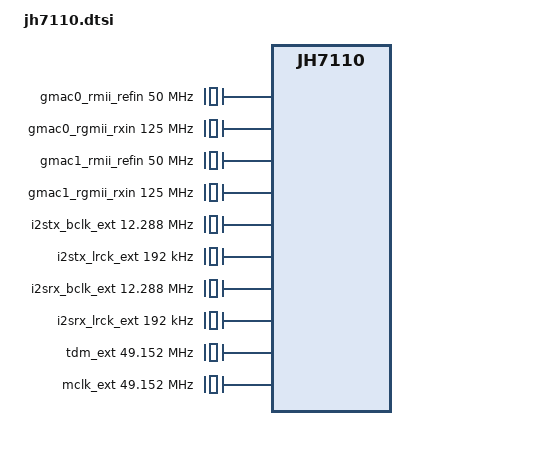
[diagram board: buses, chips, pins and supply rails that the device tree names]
// SPDX-License-Identifier: GPL-2.0 OR MIT
/*
 * Copyright (C) 2022 StarFive Technology Co., Ltd.
 * Copyright (C) 2022 Emil Renner Berthing <kernel@esmil.dk>
 */

/dts-v1/;
#include <dt-bindings/clock/starfive-jh7110-sys.h>
#include <dt-bindings/clock/starfive-jh7110-aon.h>
#include <dt-bindings/reset/starfive-jh7110.h>

/ {
	compatible = "starfive,jh7110";
	#address-cells = <2>;
	#size-cells = <2>;

	cpus {
		#address-cells = <1>;
		#size-cells = <0>;

		cpu0: cpu@0 {
			compatible = "sifive,u74-mc", "riscv";
			reg = <0>;
			d-cache-block-size = <64>;
			d-cache-sets = <64>;
			d-cache-size = <8192>;
			d-tlb-sets = <1>;
			d-tlb-size = <40>;
			device_type = "cpu";
			i-cache-block-size = <64>;
			i-cache-sets = <64>;
			i-cache-size = <16384>;
			i-tlb-sets = <1>;
			i-tlb-size = <40>;
			mmu-type = "riscv,sv39";
			next-level-cache = <&ccache>;
			riscv,isa = "rv64imac";
			tlb-split;
			status = "disabled";

			cpu0_intc: interrupt-controller {
				compatible = "riscv,cpu-intc";
				interrupt-controller;
				#interrupt-cells = <1>;
			};
		};

		cpu1: cpu@1 {
			compatible = "sifive,u74-mc", "riscv";
			reg = <1>;
			d-cache-block-size = <64>;
			d-cache-sets = <64>;
			d-cache-size = <32768>;
			d-tlb-sets = <1>;
			d-tlb-size = <40>;
			device_type = "cpu";
			i-cache-block-size = <64>;
			i-cache-sets = <64>;
			i-cache-size = <32768>;
			i-tlb-sets = <1>;
			i-tlb-size = <40>;
			mmu-type = "riscv,sv39";
			next-level-cache = <&ccache>;
			riscv,isa = "rv64imafdc";
			tlb-split;

			cpu1_intc: interrupt-controller {
				compatible = "riscv,cpu-intc";
				interrupt-controller;
				#interrupt-cells = <1>;
			};
		};

		cpu2: cpu@2 {
			compatible = "sifive,u74-mc", "riscv";
			reg = <2>;
			d-cache-block-size = <64>;
			d-cache-sets = <64>;
			d-cache-size = <32768>;
			d-tlb-sets = <1>;
			d-tlb-size = <40>;
			device_type = "cpu";
			i-cache-block-size = <64>;
			i-cache-sets = <64>;
			i-cache-size = <32768>;
			i-tlb-sets = <1>;
			i-tlb-size = <40>;
			mmu-type = "riscv,sv39";
			next-level-cache = <&ccache>;
			riscv,isa = "rv64imafdc";
			tlb-split;

			cpu2_intc: interrupt-controller {
				compatible = "riscv,cpu-intc";
				interrupt-controller;
				#interrupt-cells = <1>;
			};
		};

		cpu3: cpu@3 {
			compatible = "sifive,u74-mc", "riscv";
			reg = <3>;
			d-cache-block-size = <64>;
			d-cache-sets = <64>;
			d-cache-size = <32768>;
			d-tlb-sets = <1>;
			d-tlb-size = <40>;
			device_type = "cpu";
			i-cache-block-size = <64>;
			i-cache-sets = <64>;
			i-cache-size = <32768>;
			i-tlb-sets = <1>;
			i-tlb-size = <40>;
			mmu-type = "riscv,sv39";
			next-level-cache = <&ccache>;
			riscv,isa = "rv64imafdc";
			tlb-split;

			cpu3_intc: interrupt-controller {
				compatible = "riscv,cpu-intc";
				interrupt-controller;
				#interrupt-cells = <1>;
			};
		};

		cpu4: cpu@4 {
			compatible = "sifive,u74-mc", "riscv";
			reg = <4>;
			d-cache-block-size = <64>;
			d-cache-sets = <64>;
			d-cache-size = <32768>;
			d-tlb-sets = <1>;
			d-tlb-size = <40>;
			device_type = "cpu";
			i-cache-block-size = <64>;
			i-cache-sets = <64>;
			i-cache-size = <32768>;
			i-tlb-sets = <1>;
			i-tlb-size = <40>;
			mmu-type = "riscv,sv39";
			next-level-cache = <&ccache>;
			riscv,isa = "rv64imafdc";
			tlb-split;

			cpu4_intc: interrupt-controller {
				compatible = "riscv,cpu-intc";
				interrupt-controller;
				#interrupt-cells = <1>;
			};
		};

		cpu-map {
			cluster0 {
				core0 {
					cpu = <&cpu0>;
				};

				core1 {
					cpu = <&cpu1>;
				};

				core2 {
					cpu = <&cpu2>;
				};

				core3 {
					cpu = <&cpu3>;
				};

				core4 {
					cpu = <&cpu4>;
				};
			};
		};
	};

	osc: osc {
		compatible = "fixed-clock";
		#clock-cells = <0>;
	};

	clk_rtc: clk_rtc {
		compatible = "fixed-clock";
		#clock-cells = <0>;
	};

	gmac0_rmii_refin: gmac0_rmii_refin {
		compatible = "fixed-clock";
		#clock-cells = <0>;
		clock-frequency = <50000000>;
	};

	gmac0_rgmii_rxin: gmac0_rgmii_rxin {
		compatible = "fixed-clock";
		#clock-cells = <0>;
		clock-frequency = <125000000>;
	};

	gmac1_rmii_refin: gmac1_rmii_refin {
		compatible = "fixed-clock";
		#clock-cells = <0>;
		clock-frequency = <50000000>;
	};

	gmac1_rgmii_rxin: gmac1_rgmii_rxin {
		compatible = "fixed-clock";
		#clock-cells = <0>;
		clock-frequency = <125000000>;
	};

	i2stx_bclk_ext: i2stx_bclk_ext {
		compatible = "fixed-clock";
		#clock-cells = <0>;
		clock-frequency = <12288000>;
	};

	i2stx_lrck_ext: i2stx_lrck_ext {
		compatible = "fixed-clock";
		#clock-cells = <0>;
		clock-frequency = <192000>;
	};

	i2srx_bclk_ext: i2srx_bclk_ext {
		compatible = "fixed-clock";
		#clock-cells = <0>;
		clock-frequency = <12288000>;
	};

	i2srx_lrck_ext: i2srx_lrck_ext {
		compatible = "fixed-clock";
		#clock-cells = <0>;
		clock-frequency = <192000>;
	};

	tdm_ext: tdm_ext {
		compatible = "fixed-clock";
		#clock-cells = <0>;
		clock-frequency = <49152000>;
	};

	mclk_ext: mclk_ext {
		compatible = "fixed-clock";
		#clock-cells = <0>;
		clock-frequency = <49152000>;
	};

	soc {
		compatible = "simple-bus";
		interrupt-parent = <&plic>;
		#address-cells = <2>;
		#size-cells = <2>;
		ranges;

		clint: clint@2000000 {
			compatible = "starfive,jh7110-clint", "sifive,clint0";
			reg = <0x0 0x2000000 0x0 0x10000>;
			interrupts-extended = <&cpu0_intc 3>, <&cpu0_intc 7>,
					      <&cpu1_intc 3>, <&cpu1_intc 7>,
					      <&cpu2_intc 3>, <&cpu2_intc 7>,
					      <&cpu3_intc 3>, <&cpu3_intc 7>,
					      <&cpu4_intc 3>, <&cpu4_intc 7>;
		};

		plic: plic@c000000 {
			compatible = "starfive,jh7110-plic", "sifive,plic-1.0.0";
			reg = <0x0 0xc000000 0x0 0x4000000>;
			interrupts-extended = <&cpu0_intc 11>,
					      <&cpu1_intc 11>, <&cpu1_intc 9>,
					      <&cpu2_intc 11>, <&cpu2_intc 9>,
					      <&cpu3_intc 11>, <&cpu3_intc 9>,
					      <&cpu4_intc 11>, <&cpu4_intc 9>;
			interrupt-controller;
			#interrupt-cells = <1>;
			#address-cells = <0>;
			riscv,ndev = <136>;
		};

		ccache: cache-controller@2010000 {
			compatible = "starfive,jh7110-ccache", "cache";
			reg = <0x0 0x2010000 0x0 0x4000>;
			interrupts = <1>, <3>, <4>, <2>;
			cache-block-size = <64>;
			cache-level = <2>;
			cache-sets = <2048>;
			cache-size = <2097152>;
			cache-unified;
		};

		syscrg: syscrg@13020000 {
			compatible = "syscon", "simple-mfd";
			reg = <0x0 0x13020000 0x0 0x10000>;

			syscrg_clk: clock-controller@13020000 {
				compatible = "starfive,jh7110-clkgen-sys";
				clocks = <&osc>, <&gmac1_rmii_refin>,
					 <&gmac1_rgmii_rxin>,
					 <&i2stx_bclk_ext>, <&i2stx_lrck_ext>,
					 <&i2srx_bclk_ext>, <&i2srx_lrck_ext>,
					 <&tdm_ext>, <&mclk_ext>;
				clock-names = "osc", "gmac1_rmii_refin",
					"gmac1_rgmii_rxin",
					"i2stx_bclk_ext", "i2stx_lrck_ext",
					"i2srx_bclk_ext", "i2srx_lrck_ext",
					"tdm_ext", "mclk_ext";
				#clock-cells = <1>;
			};

			syscrg_rst: reset-controller@13020000 {
				compatible = "starfive,jh7110-reset";
				#reset-cells = <1>;
				starfive,assert-offset = <0x2F8>;
				starfive,status-offset= <0x308>;
				starfive,nr-resets = <JH7110_SYSRST_END>;
			};
		};

		aoncrg: aoncrg@17000000 {
			compatible = "syscon", "simple-mfd";
			reg = <0x0 0x17000000 0x0 0x10000>;

			aoncrg_clk: clock-controller@17000000 {
				compatible = "starfive,jh7110-clkgen-aon";
				clocks = <&osc>, <&clk_rtc>,
					 <&gmac0_rmii_refin>, <&gmac0_rgmii_rxin>,
					 <&syscrg_clk JH7110_SYSCLK_STG_AXIAHB>,
					 <&syscrg_clk JH7110_SYSCLK_APB_BUS_FUNC>;
				clock-names = "osc", "clk_rtc",
					"gmac0_rmii_refin", "gmac0_rgmii_rxin",
					"stg_axiahb", "apb_bus_func";
				#clock-cells = <1>;
			};

			aoncrg_rst: reset-controller@17000000 {
				compatible = "starfive,jh7110-reset";
				#reset-cells = <1>;
				starfive,assert-offset = <0x38>;
				starfive,status-offset= <0x3C>;
				starfive,nr-resets = <JH7110_AONRST_END>;
			};
		};

		gpio: gpio@13040000 {
			compatible = "starfive,jh7110-sys-pinctrl";
			reg = <0x0 0x13040000 0x0 0x10000>;
			reg-names = "control";
			clocks = <&syscrg_clk JH7110_SYSCLK_IOMUX>;
			resets = <&syscrg_rst JH7110_SYSRST_IOMUX>;
			interrupts = <86>;
			interrupt-controller;
			#gpio-cells = <2>;
			ngpios = <64>;
		};

		gpioa: gpio@17020000 {
			compatible = "starfive,jh7110-aon-pinctrl";
			reg = <0x0 0x17020000 0x0 0x10000>;
			reg-names = "control";
			resets = <&aoncrg_rst JH7110_AONRST_AON_IOMUX>;
			interrupts = <85>;
			interrupt-controller;
			#gpio-cells = <2>;
			ngpios = <4>;
		};

		uart0: serial@10000000 {
			compatible = "snps,dw-apb-uart";
			reg = <0x0 0x10000000 0x0 0x10000>;
			clocks = <&syscrg_clk JH7110_SYSCLK_UART0_CORE>,
				 <&syscrg_clk JH7110_SYSCLK_UART0_APB>;
			clock-names = "baudclk", "apb_pclk";
			resets = <&syscrg_rst JH7110_SYSRST_UART0_APB>,
				 <&syscrg_rst JH7110_SYSRST_UART0_CORE>;
			interrupts = <32>;
			reg-io-width = <4>;
			reg-shift = <2>;
			status = "disabled";
		};

		uart1: serial@10010000 {
			compatible = "snps,dw-apb-uart";
			reg = <0x0 0x10010000 0x0 0x10000>;
			clocks = <&syscrg_clk JH7110_SYSCLK_UART1_CORE>,
				 <&syscrg_clk JH7110_SYSCLK_UART1_APB>;
			clock-names = "baudclk", "apb_pclk";
			resets = <&syscrg_rst JH7110_SYSRST_UART1_APB>,
				 <&syscrg_rst JH7110_SYSRST_UART1_CORE>;
			interrupts = <33>;
			reg-io-width = <4>;
			reg-shift = <2>;
			status = "disabled";
		};

		uart2: serial@10020000 {
			compatible = "snps,dw-apb-uart";
			reg = <0x0 0x10020000 0x0 0x10000>;
			clocks = <&syscrg_clk JH7110_SYSCLK_UART2_CORE>,
				 <&syscrg_clk JH7110_SYSCLK_UART2_APB>;
			clock-names = "baudclk", "apb_pclk";
			resets = <&syscrg_rst JH7110_SYSRST_UART2_APB>,
				 <&syscrg_rst JH7110_SYSRST_UART2_CORE>;
			interrupts = <34>;
			reg-io-width = <4>;
			reg-shift = <2>;
			status = "disabled";
		};

		uart3: serial@12000000 {
			compatible = "snps,dw-apb-uart";
			reg = <0x0 0x12000000 0x0 0x10000>;
			clocks = <&syscrg_clk JH7110_SYSCLK_UART3_CORE>,
				 <&syscrg_clk JH7110_SYSCLK_UART3_APB>;
			clock-names = "baudclk", "apb_pclk";
			resets = <&syscrg_rst JH7110_SYSRST_UART3_APB>,
				 <&syscrg_rst JH7110_SYSRST_UART3_CORE>;
			interrupts = <45>;
			reg-io-width = <4>;
			reg-shift = <2>;
			status = "disabled";
		};

		uart4: serial@12010000 {
			compatible = "snps,dw-apb-uart";
			reg = <0x0 0x12010000 0x0 0x10000>;
			clocks = <&syscrg_clk JH7110_SYSCLK_UART4_CORE>,
				 <&syscrg_clk JH7110_SYSCLK_UART4_APB>;
			clock-names = "baudclk", "apb_pclk";
			resets = <&syscrg_rst JH7110_SYSRST_UART4_APB>,
				 <&syscrg_rst JH7110_SYSRST_UART4_CORE>;
			interrupts = <46>;
			reg-io-width = <4>;
			reg-shift = <2>;
			status = "disabled";
		};

		uart5: serial@12020000 {
			compatible = "snps,dw-apb-uart";
			reg = <0x0 0x12020000 0x0 0x10000>;
			clocks = <&syscrg_clk JH7110_SYSCLK_UART5_CORE>,
				 <&syscrg_clk JH7110_SYSCLK_UART5_APB>;
			clock-names = "baudclk", "apb_pclk";
			resets = <&syscrg_rst JH7110_SYSRST_UART5_APB>,
				 <&syscrg_rst JH7110_SYSRST_UART5_CORE>;
			interrupts = <47>;
			reg-io-width = <4>;
			reg-shift = <2>;
			status = "disabled";
		};
	};
};
